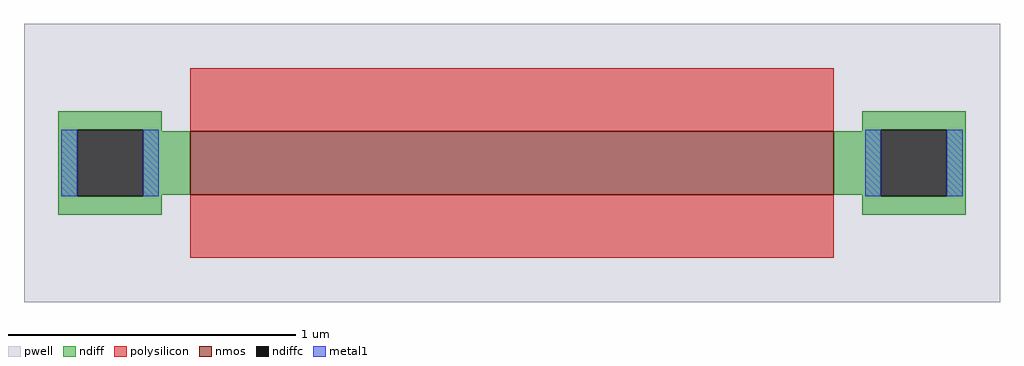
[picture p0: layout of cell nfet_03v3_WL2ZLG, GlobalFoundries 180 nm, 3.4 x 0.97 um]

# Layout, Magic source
magic
tech gf180mcuC
magscale 1 10
<< pwell >>
rect -340 -97 340 97
<< nmos >>
rect -224 -22 224 22
<< ndiff >>
rect -316 23 -244 36
rect -316 -23 -303 23
rect -257 22 -244 23
rect 244 23 316 36
rect 244 22 257 23
rect -257 -22 -224 22
rect 224 -22 257 22
rect -257 -23 -244 -22
rect -316 -36 -244 -23
rect 244 -23 257 -22
rect 303 -23 316 23
rect 244 -36 316 -23
<< ndiffc >>
rect -303 -23 -257 23
rect 257 -23 303 23
<< polysilicon >>
rect -224 22 224 66
rect -224 -66 224 -22
<< metal1 >>
rect -314 -23 -303 23
rect -257 -23 -246 23
rect 246 -23 257 23
rect 303 -23 314 23
<< properties >>
string gencell nfet_03v3
string library gf180mcu
string parameters w 0.22 l 2.24 m 1 nf 1 diffcov 100 polycov 100 guard 0 glc 0 grc 0 gtc 0 gbc 0 tbcov 100 rlcov 100 topc 0 botc 0 poverlap 0 doverlap 0 lmin 0.28 wmin 0.22 class mosfet full_metal 0 compatible {nfet_03v3 nfet_05v0 nfet_06v0 nfet_06v0_nvt}
<< end >>
